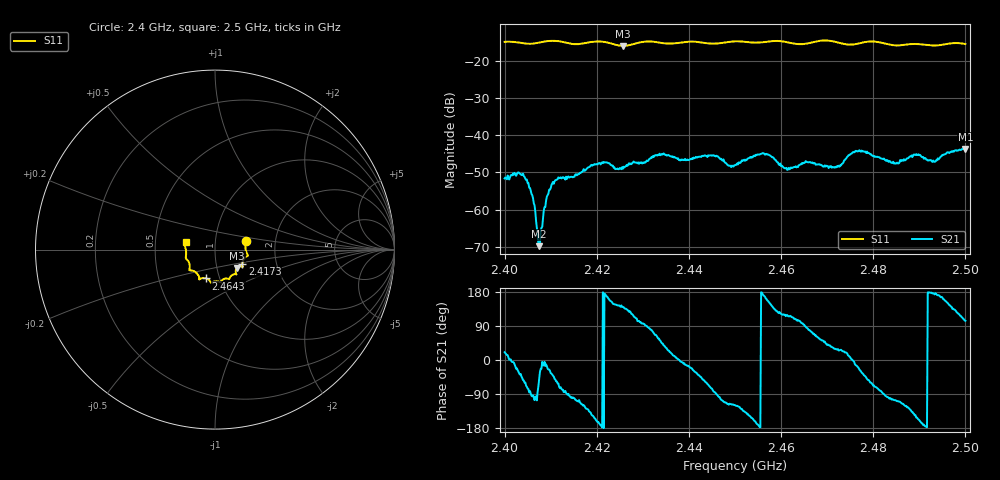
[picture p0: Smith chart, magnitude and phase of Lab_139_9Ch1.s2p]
# Hz S RI R 50
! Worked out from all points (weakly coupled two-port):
!   601 points, 2.4 GHz to 2.5 GHz, reference 50 ohm
!   highest |S21| = -43.70 dB at 2.5 GHz (marker M1); lowest = -69.9 dB at 2.4075 GHz (marker M2)
!   lowest |S11| = -15.9 dB at 2.4257 GHz (marker M3), VSWR 1.38, Z = 62.4 - j13.1 ohm
!   |S11| at or under -10 dB: start of sweep to end of sweep
!   S12 and S22 are empty: the file has one direction only
!   S11 on the Smith chart (normalised r, x): 2.4 GHz: 1.41, +0.15; 2.4173 GHz: 1.34, -0.23; 2.4643 GHz: 0.86, -0.28; 2.5 GHz: 0.72, +0.06
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2.4e9  0.1736 0.0498  0.00245 0.000924  0 0  0 0
2.4045e9  0.1702 0.0194  0.00131 -0.00225  0 0  0 0
2.406e9  0.1706 0.000942  -0.000159 -0.00155  0 0  0 0
2.4075e9  0.1757 -0.0161  0.000207 -0.000245  0 0  0 0
2.409167e9  0.182 -0.0296  0.00143 -0.000415  0 0  0 0
2.410667e9  0.1834 -0.0339  0.00161 -0.00153  0 0  0 0
2.416667e9  0.153 -0.0747  -0.00141 -0.00285  0 0  0 0
2.417333e9  0.1524 -0.0822  -0.00173 -0.00283  0 0  0 0
2.425667e9  0.1224 -0.1024  -0.00271 0.00227  0 0  0 0
2.433333e9  0.1128 -0.1369  0.00302 0.00456  0 0  0 0
2.445667e9  0.0502 -0.1635  0.000412 -0.00528  0 0  0 0
2.45e9  0.0298 -0.1811  -0.00191 -0.00345  0 0  0 0
2.455833e9  -0.00549 -0.1781  -0.00565 0.000233  0 0  0 0
2.461e9  -0.0261 -0.1783  -0.00156 0.00323  0 0  0 0
2.464333e9  -0.05 -0.1604  -0.000601 0.00401  0 0  0 0
2.466667e9  -0.0761 -0.1599  0.00125 0.00405  0 0  0 0
2.472167e9  -0.0881 -0.155  0.00339 0.0018  0 0  0 0
2.476667e9  -0.1237 -0.1174  0.00576 -0.00194  0 0  0 0
2.483333e9  -0.1408 -0.0893  -0.000736 -0.00431  0 0  0 0
2.489333e9  -0.1631 -0.0446  -0.00491 -0.00264  0 0  0 0
2.493333e9  -0.161 -0.0101  -0.00435 0.000534  0 0  0 0
2.5e9  -0.1635 0.0423  -0.00152 0.00635  0 0  0 0
